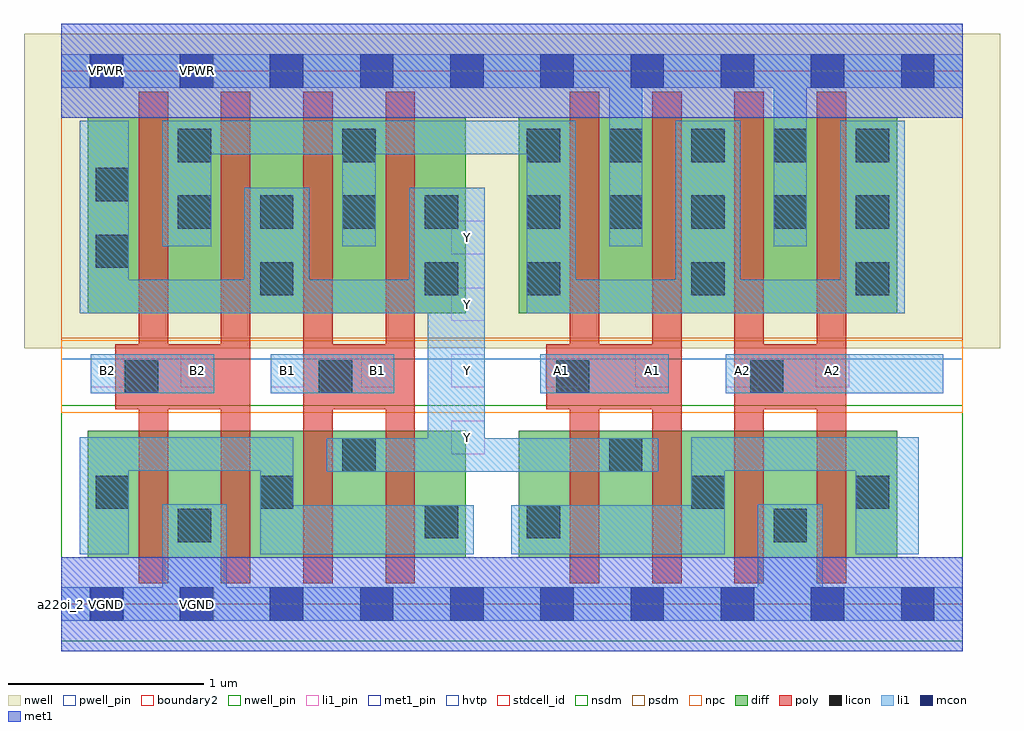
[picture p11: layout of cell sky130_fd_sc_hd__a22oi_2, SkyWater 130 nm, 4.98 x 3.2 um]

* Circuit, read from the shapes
.subckt sky130_fd_sc_hd__a22oi_2 A1 A2 B1 B2 VGND VNB VPB VPWR Y
XM1 VGND B2 n1 VNB sky130_fd_pr__nfet_01v8 w=0.65 l=0.15 m=2
XM2 Y B1 n1 VNB sky130_fd_pr__nfet_01v8 w=0.65 l=0.15 m=2
XM3 Y A1 n2 VNB sky130_fd_pr__nfet_01v8 w=0.65 l=0.15 m=2
XM4 VGND A2 n2 VNB sky130_fd_pr__nfet_01v8 w=0.65 l=0.15 m=2
XM5 n3 B2 Y VPB sky130_fd_pr__pfet_01v8_hvt w=1 l=0.15 m=2
XM6 n3 B1 Y VPB sky130_fd_pr__pfet_01v8_hvt w=1 l=0.15 m=2
XM7 VPWR A1 n3 VPB sky130_fd_pr__pfet_01v8_hvt w=1 l=0.15 m=2
XM8 VPWR A2 n3 VPB sky130_fd_pr__pfet_01v8_hvt w=1 l=0.15 m=2
.ends

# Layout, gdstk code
import gdstk
lib = gdstk.Library(unit=1e-6, precision=1e-09)
def R(c, l, rs):  # rectangles x0, y0, x1, y1
    for r in rs: c.add(gdstk.rectangle(r[:2], r[2:], *l))
def A(c, l, x, y, w, h, nx, ny, dx, dy):  # array of equal rectangles
    R(c, l, [(x+i*dx, y+j*dy, x+i*dx+w, y+j*dy+h) for i in range(nx) for j in range(ny)])
def P(c, l, *ps):  # polygons
    for p in ps: c.add(gdstk.Polygon(p, *l))
nwell_pin = (64, 16)
nwell = (64, 20)
diff = (65, 20)
poly = (66, 20)
licon = (66, 44)
li1_pin = (67, 16)
li1 = (67, 20)
mcon = (67, 44)
met1_pin = (68, 16)
met1 = (68, 20)
hvtp = (78, 44)
stdcell_id = (81, 4)
nsdm = (93, 44)
psdm = (94, 20)
npc = (95, 20)
pwell_pin = (122, 16)
boundary2 = (236, 0)

sky130_fd_sc_hd__a22oi_2 = lib.new_cell('sky130_fd_sc_hd__a22oi_2')
R(sky130_fd_sc_hd__a22oi_2, nwell_pin, [(0.15,2.635,0.32,2.805)])
R(sky130_fd_sc_hd__a22oi_2, nwell, [(-0.19,1.305,4.79,2.91)])
R(sky130_fd_sc_hd__a22oi_2, diff, [(0.135,0.235,2.065,0.885), (2.335,0.235,4.265,0.885), (0.135,1.485,2.065,2.485), (2.335,1.485,4.265,2.485)])
P(sky130_fd_sc_hd__a22oi_2, poly, [(0.965,2.615),(0.815,2.615),(0.815,1.325),(0.545,1.325),(0.545,2.615),(0.395,2.615),(0.395,1.325),(0.275,1.325),(0.275,0.995),(0.395,0.995),(0.395,0.105),(0.545,0.105),(0.545,0.995),(0.815,0.995),(0.815,0.105),(0.965,0.105)],
  [(1.805,2.615),(1.655,2.615),(1.655,1.325),(1.385,1.325),(1.385,2.615),(1.235,2.615),(1.235,0.105),(1.385,0.105),(1.385,0.995),(1.655,0.995),(1.655,0.105),(1.805,0.105)],
  [(3.165,2.615),(3.015,2.615),(3.015,1.325),(2.745,1.325),(2.745,2.615),(2.595,2.615),(2.595,1.325),(2.475,1.325),(2.475,0.995),(2.595,0.995),(2.595,0.105),(2.745,0.105),(2.745,0.995),(3.015,0.995),(3.015,0.105),(3.165,0.105)],
  [(4.005,2.615),(3.855,2.615),(3.855,1.325),(3.585,1.325),(3.585,2.615),(3.435,2.615),(3.435,0.105),(3.585,0.105),(3.585,0.995),(3.855,0.995),(3.855,0.105),(4.005,0.105)])
A(sky130_fd_sc_hd__a22oi_2, licon, 2.375, 1.575, 0.17, 0.17, 3, 1, 0.84, 0)
A(sky130_fd_sc_hd__a22oi_2, licon, 0.595, 1.915, 0.17, 0.17, 4, 1, 0.42, 0)
A(sky130_fd_sc_hd__a22oi_2, licon, 2.375, 1.915, 0.17, 0.17, 5, 2, 0.42, 0.34)
R(sky130_fd_sc_hd__a22oi_2, licon, [(0.595,0.315,0.765,0.485), (3.635,0.315,3.805,0.485), (1.855,0.335,2.025,0.505), (2.375,0.335,2.545,0.505), (0.175,0.485,0.345,0.655), (1.015,0.485,1.185,0.655), (3.215,0.485,3.385,0.655), (4.055,0.485,4.225,0.655), (1.435,0.675,1.605,0.845), (2.795,0.675,2.965,0.845), (0.325,1.075,0.495,1.245), (1.315,1.075,1.485,1.245), (2.525,1.075,2.695,1.245), (3.515,1.075,3.685,1.245), (1.015,1.575,1.185,1.745), (1.855,1.575,2.025,1.745), (0.175,1.715,0.345,1.885), (0.175,2.055,0.345,2.225), (0.595,2.255,0.765,2.425), (1.435,2.255,1.605,2.425)])
A(sky130_fd_sc_hd__a22oi_2, li1_pin, 0.15, 1.105, 0.17, 0.17, 5, 1, 0.46, 0)
A(sky130_fd_sc_hd__a22oi_2, li1_pin, 2.47, 1.105, 0.17, 0.17, 4, 1, 0.46, 0)
R(sky130_fd_sc_hd__a22oi_2, li1_pin, [(0.61,-0.085,0.78,0.085), (1.99,0.765,2.16,0.935), (1.99,1.445,2.16,1.615), (1.99,1.785,2.16,1.955), (0.61,2.635,0.78,2.805)])
R(sky130_fd_sc_hd__a22oi_2, li1, [(0.15,1.075,0.78,1.275), (1.07,1.075,1.7,1.275), (2.445,1.075,3.1,1.275), (3.39,1.075,4.5,1.275)])
P(sky130_fd_sc_hd__a22oi_2, li1, [(4.6,2.805),(0,2.805),(0,2.635),(2.795,2.635),(2.795,1.825),(2.965,1.825),(2.965,2.635),(3.635,2.635),(3.635,1.825),(3.805,1.825),(3.805,2.635),(4.6,2.635)],
  [(4.6,0.085),(3.885,0.085),(3.885,0.51),(3.555,0.51),(3.555,0.085),(0.845,0.085),(0.845,0.51),(0.515,0.51),(0.515,0.085),(0,0.085),(0,-0.085),(4.6,-0.085)],
  [(4.375,0.85),(3.215,0.85),(3.215,0.505),(2.295,0.505),(2.295,0.255),(3.385,0.255),(3.385,0.68),(4.055,0.68),(4.055,0.255),(4.375,0.255)],
  [(4.305,2.465),(3.975,2.465),(3.975,1.655),(3.465,1.655),(3.465,2.465),(3.135,2.465),(3.135,1.655),(2.625,1.655),(2.625,2.465),(0.515,2.465),(0.515,1.825),(0.765,1.825),(0.765,2.295),(1.435,2.295),(1.435,1.825),(1.605,1.825),(1.605,2.295),(2.375,2.295),(2.375,1.485),(4.305,1.485)],
  [(3.045,0.845),(2.16,0.845),(2.16,2.125),(1.775,2.125),(1.775,1.655),(1.265,1.655),(1.265,2.125),(0.935,2.125),(0.935,1.655),(0.345,1.655),(0.345,2.465),(0.095,2.465),(0.095,1.485),(1.87,1.485),(1.87,0.845),(1.355,0.845),(1.355,0.675),(3.045,0.675)],
  [(2.105,0.505),(1.185,0.505),(1.185,0.85),(0.095,0.85),(0.095,0.255),(0.345,0.255),(0.345,0.68),(1.015,0.68),(1.015,0.255),(2.105,0.255)])
A(sky130_fd_sc_hd__a22oi_2, mcon, 0.145, -0.085, 0.17, 0.17, 10, 2, 0.46, 2.72)
R(sky130_fd_sc_hd__a22oi_2, met1_pin, [(0.15,-0.085,0.32,0.085), (0.15,2.635,0.32,2.805)])
R(sky130_fd_sc_hd__a22oi_2, hvtp, [(0,1.25,4.6,2.72)])
R(sky130_fd_sc_hd__a22oi_2, stdcell_id, [(0,0,4.6,2.72)])
R(sky130_fd_sc_hd__a22oi_2, nsdm, [(0,-0.19,4.6,1.015)])
R(sky130_fd_sc_hd__a22oi_2, psdm, [(0,1.355,4.6,2.91)])
R(sky130_fd_sc_hd__a22oi_2, npc, [(0,0.975,4.6,1.345)])
R(sky130_fd_sc_hd__a22oi_2, pwell_pin, [(0.15,-0.085,0.32,0.085)])
R(sky130_fd_sc_hd__a22oi_2, boundary2, [(0,0,4.6,2.72)])
sky130_fd_sc_hd__a22oi_2.add(gdstk.FlexPath([(0,0),(4.6,0)], 0.48, ends="flush", simple_path=True, layer=68, datatype=20))  # met1
sky130_fd_sc_hd__a22oi_2.add(gdstk.FlexPath([(0,2.72),(4.6,2.72)], 0.48, ends="flush", simple_path=True, layer=68, datatype=20))  # met1
sky130_fd_sc_hd__a22oi_2.add(gdstk.Label('A1', (2.555,1.19), layer=67, texttype=5))
sky130_fd_sc_hd__a22oi_2.add(gdstk.Label('A1', (3.015,1.19), layer=67, texttype=5))
sky130_fd_sc_hd__a22oi_2.add(gdstk.Label('A2', (3.475,1.19), layer=67, texttype=5))
sky130_fd_sc_hd__a22oi_2.add(gdstk.Label('A2', (3.935,1.19), layer=67, texttype=5))
sky130_fd_sc_hd__a22oi_2.add(gdstk.Label('B1', (1.615,1.19), layer=67, texttype=5))
sky130_fd_sc_hd__a22oi_2.add(gdstk.Label('B2', (0.695,1.19), layer=67, texttype=5))
sky130_fd_sc_hd__a22oi_2.add(gdstk.Label('Y', (2.075,0.85), layer=67, texttype=5))
sky130_fd_sc_hd__a22oi_2.add(gdstk.Label('Y', (2.075,1.19), layer=67, texttype=5))
sky130_fd_sc_hd__a22oi_2.add(gdstk.Label('Y', (2.075,1.87), layer=67, texttype=5))
sky130_fd_sc_hd__a22oi_2.add(gdstk.Label('Y', (2.075,1.53), layer=67, texttype=5))
sky130_fd_sc_hd__a22oi_2.add(gdstk.Label('VPWR', (0.695,2.72), layer=67, texttype=5))
sky130_fd_sc_hd__a22oi_2.add(gdstk.Label('VGND', (0.695,0), layer=67, texttype=5))
sky130_fd_sc_hd__a22oi_2.add(gdstk.Label('B2', (0.235,1.19), layer=67, texttype=5))
sky130_fd_sc_hd__a22oi_2.add(gdstk.Label('B1', (1.155,1.19), layer=67, texttype=5))
sky130_fd_sc_hd__a22oi_2.add(gdstk.Label('VPWR', (0.23,2.72), layer=68, texttype=5))
sky130_fd_sc_hd__a22oi_2.add(gdstk.Label('VGND', (0.23,0), layer=68, texttype=5))
sky130_fd_sc_hd__a22oi_2.add(gdstk.Label('VPB', (0.235,2.72), layer=64, texttype=5))
sky130_fd_sc_hd__a22oi_2.add(gdstk.Label('VNB', (0.235,0), layer=64, texttype=59))
sky130_fd_sc_hd__a22oi_2.add(gdstk.Label('a22oi_2', (0,0), layer=83, texttype=44))

lib.write_gds('sky130_fd_sc_hd__a22oi_2.gds')
